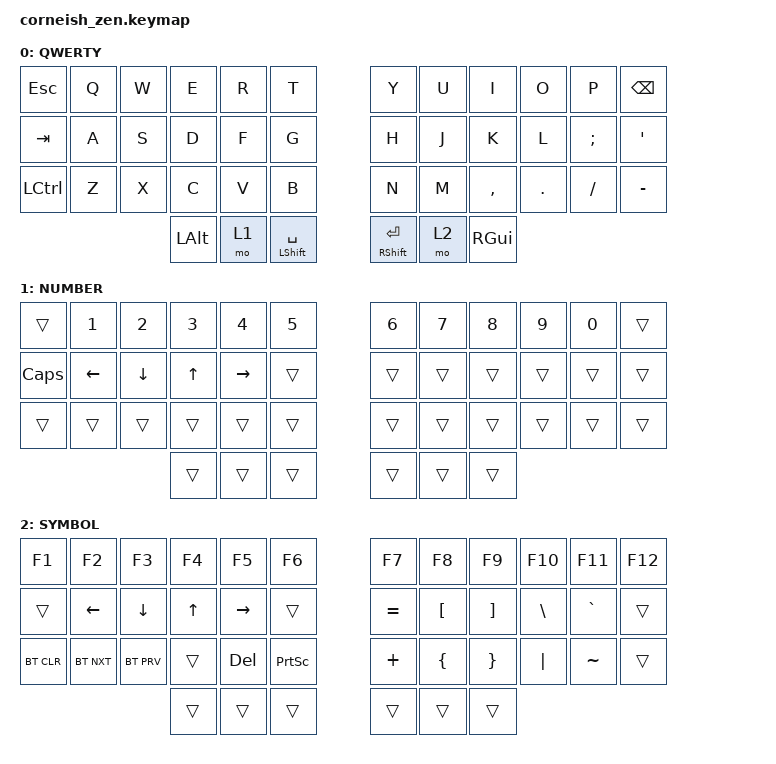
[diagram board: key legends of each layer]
#include <behaviors.dtsi>
#include <dt-bindings/zmk/keys.h>
#include <dt-bindings/zmk/bt.h>

/ {
  chosen {
    zmk,matrix_transform = &default_transform;
    //zmk,matrix_transform = &five_column_transform;
  };
};

/ {
        keymap {
                compatible = "zmk,keymap";

                default_layer {
                        label = "QWERTY";
// -----------------------------------------------------------------------------------------
//       |  ESC |  Q  |  W  |  E  |  R  |  T  |   |  Y  |  U   |  I  |  O  |  P  | BKSP |
//       | TAB  |  A  |  S  |  D  |  F  |  G  |   |  H  |  J   |  K  |  L  |  ;  |  '   |
//       | LCTL |  Z  |  X  |  C  |  V  |  B  |   |  N  |  M   |  ,  |  .  |  /  |  -   |
//                    | ALT | LWR | SPC/LSHFT |   | ENT/RSHFT | RSE  | RGUI |
                        bindings = <
         &kp ESC   &kp Q &kp W &kp E &kp R &kp T   &kp Y &kp U  &kp I     &kp O   &kp P    &kp BSPC
         &kp TAB   &kp A &kp S &kp D &kp F &kp G   &kp H &kp J  &kp K     &kp L   &kp SEMI &kp SQT
         &kp LCTRL &kp Z &kp X &kp C &kp V &kp B   &kp N &kp M  &kp COMMA &kp DOT &kp FSLH &kp MINUS
                  &kp LALT &mo 1 &mt LSHFT SPACE   &mt RSHFT RET &mo 2 &kp RGUI
                        >;
                };
                lower_layer {
                        label = "NUMBER";
// -----------------------------------------------------------------------------------------
//   |      |  1  |  2  |  3  |  4  |  5  |   |  6  |  7  |  8  |  9  |  0  |      |
//  | CAPS |  ⬅  |  ⬇  |  ⬆  |  ⮕  |     |   |     |     |     |     |     |      |
//   |     |     |      |     |     |     |   |     |     |     |     |     |      |
//                      |     |     |     |   |     |     |     |
                        bindings = <
  &trans     &kp N1    &kp N2       &kp N3       &kp N4       &kp N5            &kp N6    &kp N7   &kp N8   &kp N9   &kp N0   &trans
  &kp CAPS   &kp LEFT  &kp DOWN     &kp UP     &kp RIGHT     &trans             &trans    &trans   &trans   &trans   &trans   &trans
  &trans     &trans    &trans       &trans       &trans       &trans            &trans    &trans   &trans   &trans   &trans   &trans
                          	         &trans       &trans       &trans            &trans    &trans   &trans
                        >;
                };

                raise_layer {
                        label = "SYMBOL";
// -----------------------------------------------------------------------------------------
// |   F1 |  F2  |  F3  |  F4 | F5  |  F6 |   |  F7 | F8  | F9 |  F10 | F11 |  F12 |
// |      |      |      |     |     |     |   |  =  |  [  |  ]  |  \  |  `   |     |
// |BT_CLR|BT_NXT|BT_PRV|     | DEL |PSCRN|   |  +  |  {  |  }  | "|" |  ~   |     |
//                      |     |     |     |   |     |     |     |
                        bindings = <
   &kp F1     &kp F2     &kp F3     &kp F4   &kp F5      &kp F6      &kp F7    &kp F8    &kp F9   &kp F10  &kp F11  &kp F12
   &trans     &kp LEFT   &kp DOWN   &kp UP   &kp RIGHT   &trans      &kp EQUAL &kp LBKT &kp RBKT &kp BSLH &kp GRAVE &trans
   &bt BT_CLR &bt BT_NXT &bt BT_PRV &trans   &kp DEL     &kp PSCRN   &kp PLUS  &kp LBRC &kp RBRC &kp PIPE &kp TILDE &trans
                    	              &trans   &trans      &trans      &trans    &trans    &trans
                        >;
                };
        };
};
